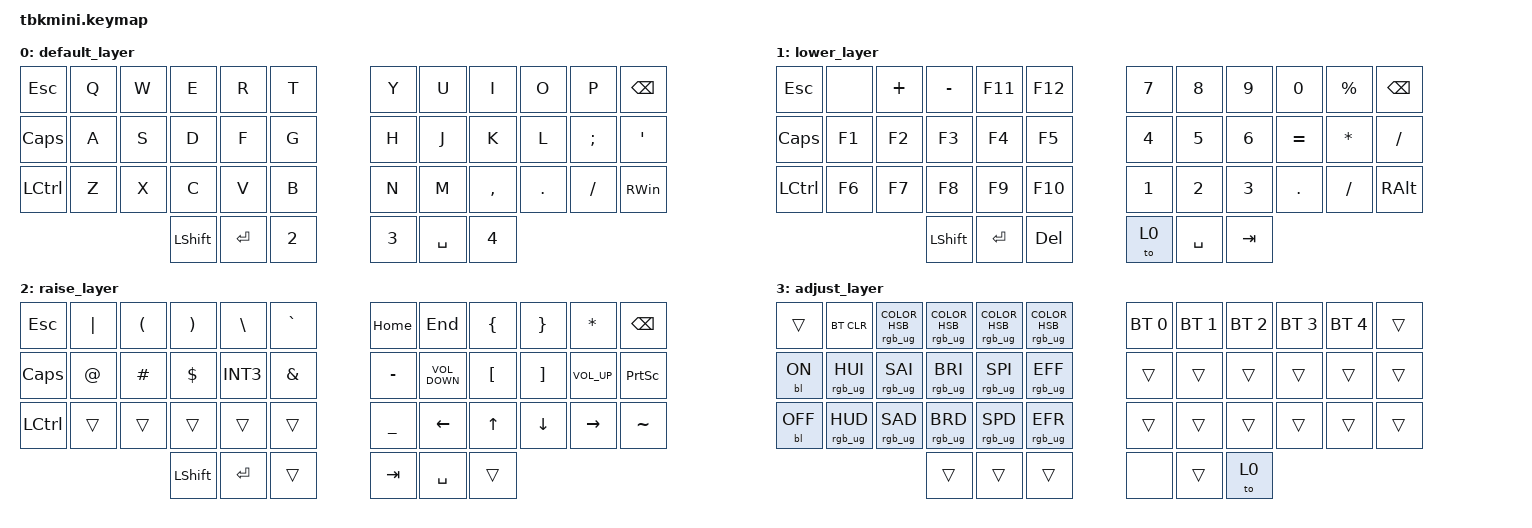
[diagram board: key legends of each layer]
/*
 * Copyright (c) 2020 The ZMK Contributors
 *
 * SPDX-License-Identifier: MIT
 */

#include <behaviors.dtsi>
#include <dt-bindings/zmk/backlight.h>
#include <dt-bindings/zmk/bt.h>
#include <dt-bindings/zmk/keys.h>
#include <dt-bindings/zmk/rgb.h>

#define LOWER 1
#define RAISE 2
#define ADJUST 3
#define NUMBERS 4
#define BT0 BT_SEL 0
#define BT1 BT_SEL 1
#define BT2 BT_SEL 2
#define BT3 BT_SEL 3
#define BT4 BT_SEL 4

&mt { retro-tap; };

&sk {
    //release-after-ms = <2000>;

    quick-release;

    // /delete-property/ ignore-modifiers;
};

/ {
    conditional_layers {
        compatible = "zmk,conditional-layers";

        tri_layer {
            if-layers = <1 2>;
            then-layer = <3>;
        };
    };

    combos {
        compatible = "zmk,combos";

        combo_caps {
            timeout-ms = <50>;
            key-positions = <24 35>;
            bindings = <&caps_word>;
        };

        combo_esc {
            timeout-ms = <50>;
            key-positions = <19 20>;
            bindings = <&kp ESC>;
        };
    };

    macros {
        none_blk: none_blk {
            label = "NON_BLOCKING";
            compatible = "zmk,behavior-macro";
            #binding-cells = <0>;
            bindings = <&macro_tap>, <&kp LS(COMMA) &kp EQUAL>;
        };

        cmd_mode: cmd_mode {
            label = "VIM_CMD_MODE";
            compatible = "zmk,behavior-macro";
            #binding-cells = <0>;
            bindings = <&macro_tap>, <&kp ESC &kp LS(SEMI)>;
        };
    };

    keymap {
        compatible = "zmk,keymap";

        default_layer {
            // -----------------------------------------------------------------------------------------
            // |  TAB |  Q  |  W  |  E  |  R  |  T  |   |  Y  |  U   |  I  |  O  |  P  | BKSP |
            // | CTRL |  A  |  S  |  D  |  F  |  G  |   |  H  |  J   |  K  |  L  |  ;  |  '   |
            // | SHFT |  Z  |  X  |  C  |  V  |  B  |   |  N  |  M   |  ,  |  .  |  /  | ESC  |
            //                    | GUI | LWR | SPC |   | ENT | RSE  | ALT |

            bindings = <
&kp ESC    &kp Q  &kp W  &kp E      &kp R      &kp T         &kp Y         &kp U      &kp I         &kp O    &kp P     &kp BSPC
&kp CAPS   &kp A  &kp S  &kp D      &kp F      &kp G         &kp H         &kp J      &kp K         &kp L    &kp SEMI  &kp SQT
&kp LCTRL  &kp Z  &kp X  &kp C      &kp V      &kp B         &kp N         &kp M      &kp COMMA     &kp DOT  &kp FSLH  &kp RWIN
                         &kp LSHFT  &kp ENTER  &kp NUMBER_2  &kp NUMBER_3  &kp SPACE  &kp NUMBER_4
            >;
        };

        lower_layer {
            // -----------------------------------------------------------------------------------------
            // |  TAB |  1  |  2  |  3  |  4  |  5  |   |  6  |  7  |  8  |  9  |  0  | BKSP |
            // | BTCLR| BT1 | BT2 | BT3 | BT4 | BT5 |   | LFT | DWN |  UP | RGT |     |      |
            // | SHFT |     |     |     |     |     |   |     |     |     |     |     |      |
            //                    | GUI |     | SPC |   | ENT |     | ALT |

            bindings = <
&kp ESC    &none   &kp PLUS  &kp MINUS   &kp F11    &kp F12     &kp NUMBER_7  &kp NUMBER_8  &kp NUMBER_9  &kp NUMBER_0  &kp PERCENT   &kp BACKSPACE
&kp CAPS   &kp F1  &kp F2    &kp F3      &kp F4     &kp F5      &kp NUMBER_4  &kp NUMBER_5  &kp NUMBER_6  &kp EQUAL     &kp ASTERISK  &kp SLASH
&kp LCTRL  &kp F6  &kp F7    &kp F8      &kp F9     &kp F10     &kp NUMBER_1  &kp NUMBER_2  &kp NUMBER_3  &kp DOT       &kp SLASH     &kp RIGHT_ALT
                             &kp LSHIFT  &kp ENTER  &kp DELETE  &to 0         &kp SPACE     &kp TAB
            >;
        };

        raise_layer {
            // -----------------------------------------------------------------------------------------
            // |  TAB |  !  |  @  |  #  |  $  |  %  |   |  ^  |  &  |  *  |  (  |  )  | DEL  |
            // | CTRL |     |     |     |     |     |   |  -  |  =  |  [  |  ]  |  \  |  `   |
            // | SHFT |     |     |     |     |     |   |  _  |  +  |  {  |  }  | "|" |  ~   |
            //                    | GUI |     | SPC |   | ENT |     | ALT |

            bindings = <
&kp ESC    &kp PIPE     &kp LEFT_PARENTHESIS  &kp RIGHT_PARENTHESIS  &kp BACKSLASH  &kp GRAVE      &kp HOME   &kp END            &kp LEFT_BRACE  &kp RIGHT_BRACE  &kp ASTERISK     &kp BSPC
&kp CAPS   &kp AT_SIGN  &kp HASH              &kp DOLLAR             &kp INT3       &kp AMPERSAND  &kp MINUS  &kp K_VOLUME_DOWN  &kp LBKT        &kp RBKT         &kp K_VOLUME_UP  &kp PRINTSCREEN
&kp LCTRL  &trans       &trans                &trans                 &trans         &trans         &kp UNDER  &kp LEFT           &kp UP          &kp DOWN         &kp RIGHT        &kp TILDE
                                              &kp LSHFT              &kp ENTER      &trans         &kp TAB    &kp SPACE          &trans
            >;
        };

        adjust_layer {
            bindings = <
&trans      &bt BT_CLR       &rgb_ug RGB_COLOR_HSB(0,91,50)  &rgb_ug RGB_COLOR_HSB(239,95,51)  &rgb_ug RGB_COLOR_HSB(129,96,45)  &rgb_ug RGB_COLOR_HSB(179,93,51)  &bt BT_SEL 0  &bt BT_SEL 1  &bt BT_SEL 2  &bt BT_SEL 3  &bt BT_SEL 4  &trans
&bl BL_ON   &rgb_ug RGB_HUI  &rgb_ug RGB_SAI                 &rgb_ug RGB_BRI                   &rgb_ug RGB_SPI                   &rgb_ug RGB_EFF                   &trans        &trans        &trans        &trans        &trans        &trans
&bl BL_OFF  &rgb_ug RGB_HUD  &rgb_ug RGB_SAD                 &rgb_ug RGB_BRD                   &rgb_ug RGB_SPD                   &rgb_ug RGB_EFR                   &trans        &trans        &trans        &trans        &trans        &trans
                                                             &trans                            &trans                            &trans                            &none         &trans        &to 0
            >;
        };
    };
};
